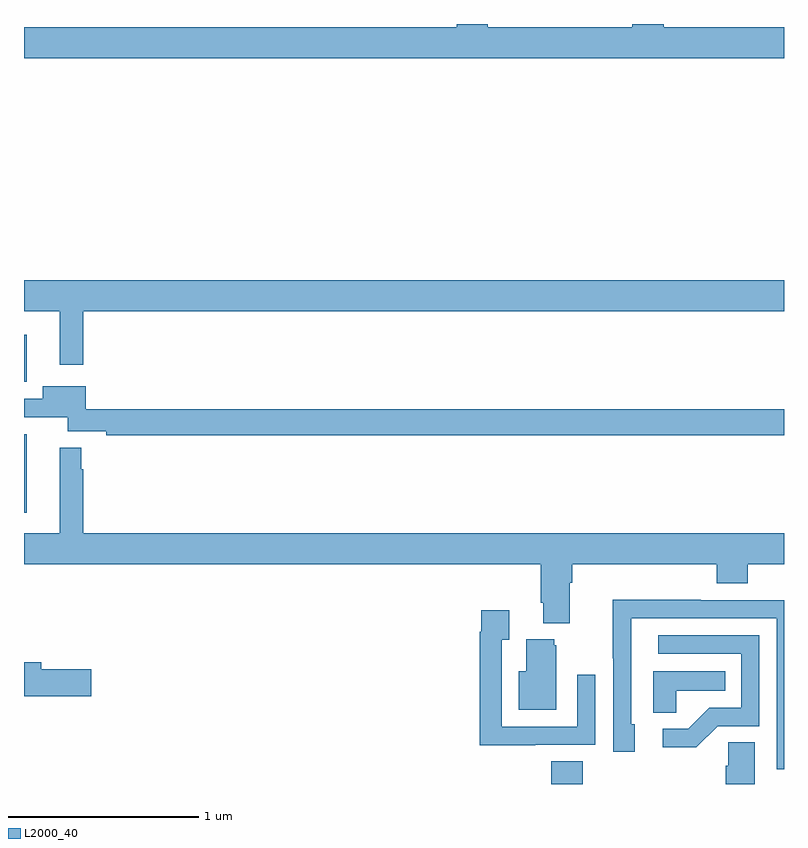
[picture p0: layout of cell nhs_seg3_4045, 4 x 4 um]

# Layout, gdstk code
import gdstk
lib = gdstk.Library(unit=1e-6, precision=1e-09)
def R(c, l, rs):  # rectangles x0, y0, x1, y1
    for r in rs: c.add(gdstk.rectangle(r[:2], r[2:], *l))
def P(c, l, *ps):  # polygons
    for p in ps: c.add(gdstk.Polygon(p, *l))
L2000_40 = (2000, 40)

nhs_seg3_4045 = lib.new_cell('nhs_seg3_4045')
R(nhs_seg3_4045, L2000_40, [(325.775,726.4,325.94,726.521), (323,727.827,323.014,728.242), (323,728.517,323.014,728.764)])
P(nhs_seg3_4045, L2000_40, [(327,730.384),(326.366,730.384),(326.366,730.4),(326.201,730.4),(326.201,730.384),(325.442,730.384),(325.442,730.4),(325.277,730.4),(325.277,730.384),(323,730.384),(323,730.22),(327,730.22)],
  [(323.311,728.888),(327,728.888),(327,729.052),(323,729.052),(323,728.888),(323.189,728.888),(323.189,728.607),(323.311,728.607)],
  [(327,728.372),(323.325,728.372),(323.325,728.494),(323.099,728.494),(323.099,728.427),(323,728.427),(323,728.331),(323.229,728.331),(323.229,728.256),(323.432,728.256),(323.432,728.236),(327,728.236)],
  [(325.873,727.46),(325.886,727.46),(325.886,727.556),(326.645,727.556),(326.645,727.457),(326.81,727.457),(326.81,727.556),(327,727.556),(327,727.72),(323.311,727.72),(323.311,728.057),(323.302,728.057),(323.302,728.17),(323.189,728.17),(323.189,727.72),(323,727.72),(323,727.556),(325.721,727.556),(325.721,727.354),(325.733,727.354),(325.733,727.247),(325.873,727.247)],
  [(327,727.368),(326.561,727.368),(326.561,727.37),(326.098,727.37),(326.098,727.063),(326.1,727.063),(326.1,726.57),(326.215,726.57),(326.215,726.714),(326.196,726.714),(326.196,727.272),(326.961,727.272),(326.961,726.477),(327,726.477)],
  [(325.691,726.606),(326.007,726.606),(326.007,726.976),(325.911,726.976),(325.911,726.702),(325.515,726.702),(325.515,727.159),(325.555,727.159),(325.555,727.315),(325.407,727.315),(325.407,727.202),(325.399,727.202),(325.399,726.605),(325.691,726.605)],
  [(326.652,726.705),(326.871,726.705),(326.871,727.182),(326.337,727.182),(326.337,727.086),(326.775,727.086),(326.775,726.801),(326.606,726.801),(326.495,726.69),(326.361,726.69),(326.361,726.593),(326.539,726.593)],
  [(325.801,727.131),(325.79,727.131),(325.79,727.162),(325.643,727.162),(325.643,726.994),(325.604,726.994),(325.604,726.791),(325.801,726.791)],
  [(323.353,727.004),(323.092,727.004),(323.092,727.04),(323,727.04),(323,726.862),(323.353,726.862)],
  [(326.433,726.89),(326.69,726.89),(326.69,726.994),(326.312,726.994),(326.312,726.775),(326.433,726.775)],
  [(326.845,726.62),(326.706,726.62),(326.706,726.497),(326.693,726.497),(326.693,726.4),(326.845,726.4)])

lib.write_gds('nhs_seg3_4045.gds')
